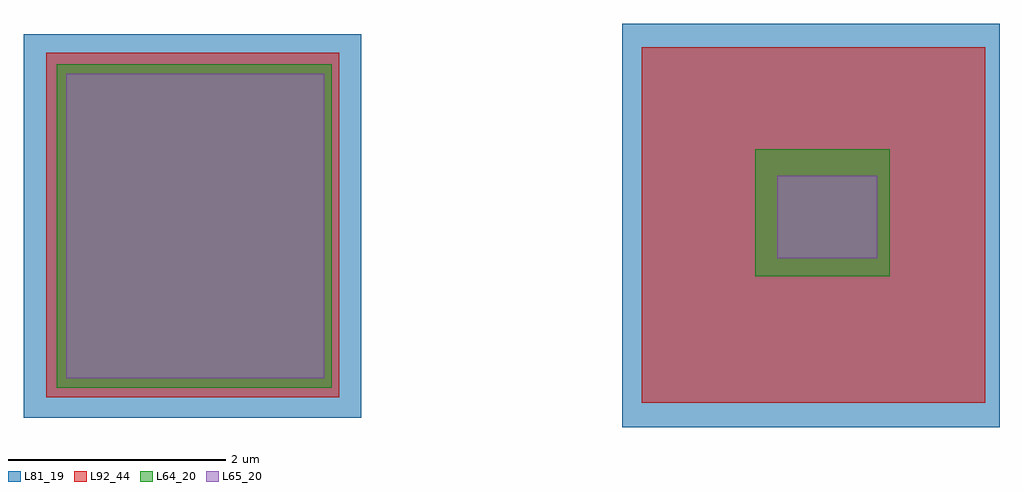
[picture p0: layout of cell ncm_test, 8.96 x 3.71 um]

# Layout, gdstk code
import gdstk
lib = gdstk.Library(unit=1e-6, precision=1e-09)
def R(c, l, rs):  # rectangles x0, y0, x1, y1
    for r in rs: c.add(gdstk.rectangle(r[:2], r[2:], *l))
L64_20 = (64, 20)
L65_20 = (65, 20)
L81_19 = (81, 19)
L92_44 = (92, 44)

ncm_test = lib.new_cell('ncm_test')
R(ncm_test, L64_20, [(-2.067,-0.651,0.46,2.318), (4.35,0.373,5.583,1.537)])
R(ncm_test, L65_20, [(-1.98,-0.564,0.391,2.232), (4.55,0.538,5.47,1.294)])
R(ncm_test, L81_19, [(3.126,-1.016,6.591,2.692), (-2.371,-0.929,0.729,2.596)])
R(ncm_test, L92_44, [(3.308,-0.79,6.46,2.475), (-2.162,-0.738,0.53,2.423)])

lib.write_gds('ncm_test.gds')
